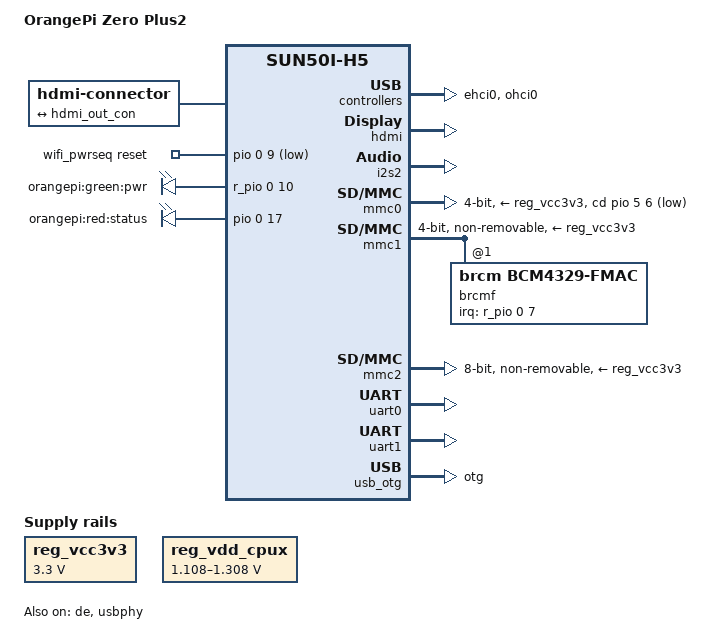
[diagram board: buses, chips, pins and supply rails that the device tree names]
// SPDX-License-Identifier: (GPL-2.0+ OR MIT)
// Copyright (C) 2017 Jagan Teki <jteki@openedev.com>

/dts-v1/;

#include "sun50i-h5.dtsi"
#include "sun50i-h5-cpu-opp.dtsi"

#include <dt-bindings/gpio/gpio.h>

/ {
	model = "OrangePi Zero Plus2";
	compatible = "xunlong,orangepi-zero-plus2", "allwinner,sun50i-h5";

	aliases {
		serial0 = &uart0;
	};

	chosen {
		stdout-path = "serial0:115200n8";
	};

	connector {
		compatible = "hdmi-connector";
		type = "a";

		port {
			hdmi_con_in: endpoint {
				remote-endpoint = <&hdmi_out_con>;
			};
		};
	};

	reg_vcc3v3: vcc3v3 {
		compatible = "regulator-fixed";
		regulator-name = "vcc3v3";
		regulator-min-microvolt = <3300000>;
		regulator-max-microvolt = <3300000>;
	};

	wifi_pwrseq: wifi_pwrseq {
		compatible = "mmc-pwrseq-simple";
		reset-gpios = <&pio 0 9 GPIO_ACTIVE_LOW>; /* PA9 */
		post-power-on-delay-ms = <200>;
	};

	leds {
		compatible = "gpio-leds";

		led-0 {
			label = "orangepi:green:pwr";
			gpios = <&r_pio 0 10 GPIO_ACTIVE_HIGH>; /* PL10 */
			linux,default-trigger = "default-on";
		};

		led-1 {
			label = "orangepi:red:status";
			gpios = <&pio 0 17 GPIO_ACTIVE_HIGH>; /* PA17 */
			linux,default-trigger = "heartbeat";
		};
	};

	reg_vdd_cpux: gpio-regulator {
		compatible = "regulator-gpio";
		regulator-name = "vdd-cpux";
		regulator-type = "voltage";
		regulator-boot-on;
		regulator-always-on;
		regulator-min-microvolt = <1108475>;
		regulator-max-microvolt = <1307810>;
		regulator-ramp-delay = <50>; /* 4ms */
//		enable-gpios =  <&r_pio 0 8 GPIO_ACTIVE_HIGH>; /* PL8 */
		gpios = <&r_pio 0 6 0>; /* PL6 */
		enable-active-high;
		gpios-states = <0x1>;
		states = <1108475 0x0
			  1307810 0x1>;
	};
};

&cpu0 {
	cpu-supply = <&reg_vdd_cpux>;
};

&de {
	status = "okay";
};

&ehci0 {
	status = "okay";
};

&hdmi {
	status = "okay";
};

&hdmi_out {
	hdmi_out_con: endpoint {
		remote-endpoint = <&hdmi_con_in>;
	};
};

&i2s2 {
	status = "okay";
};

&mmc0 {
	vmmc-supply = <&reg_vcc3v3>;
	bus-width = <4>;
	cd-gpios = <&pio 5 6 GPIO_ACTIVE_LOW>;
	status = "okay";
};

&mmc1 {
	vmmc-supply = <&reg_vcc3v3>;
	vqmmc-supply = <&reg_vcc3v3>;
	mmc-pwrseq = <&wifi_pwrseq>;
	bus-width = <4>;
	non-removable;
	status = "okay";

	brcmf: wifi@1 {
		reg = <1>;
		compatible = "brcm,bcm4329-fmac";
		interrupt-parent = <&r_pio>;
		interrupts = <0 7 IRQ_TYPE_LEVEL_LOW>;	/* PL7 */
		interrupt-names = "host-wake";
	};
};

&mmc2 {
	pinctrl-names = "default";
	pinctrl-0 = <&mmc2_8bit_pins>;
	vmmc-supply = <&reg_vcc3v3>;
	bus-width = <8>;
	non-removable;
	cap-mmc-hw-reset;
	status = "okay";
};

&ohci0 {
	status = "okay";
};

&sound_hdmi {
	status = "okay";
};

&uart0 {
	pinctrl-names = "default";
	pinctrl-0 = <&uart0_pa_pins>;
	status = "okay";
};

&uart1 {
	pinctrl-names = "default";
	pinctrl-0 = <&uart1_pins>, <&uart1_rts_cts_pins>;
	status = "okay";
};

&usb_otg {
	/*
	 * According to schematics CN1 MicroUSB port can be used to take
	 * external 5V to power up the board VBUS. On the contrary CN1 MicroUSB
	 * port cannot provide power externally even if the board is powered
	 * via GPIO pins. It thus makes sense to force peripheral mode.
	 */
	dr_mode = "peripheral";
	status = "okay";
};

&usbphy {
	status = "okay";
};

&usb_otg {
	dr_mode = "otg";
	status = "okay";
};

&usbphy {
	status = "okay";
};
